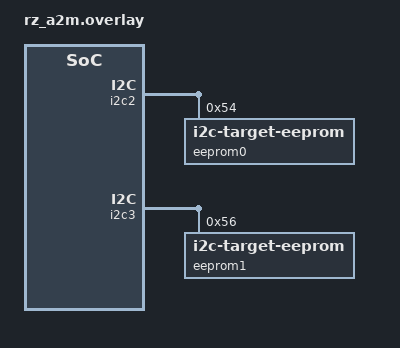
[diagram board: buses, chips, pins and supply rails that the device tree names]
/*
 * Copyright (c) 2023 EPAM Systems
 *
 * SPDX-License-Identifier: Apache-2.0
 */

&dma0 {
	status = "okay";
	dma-buf-addr-alignment = <1>;
};

&i2c2 {
	pinctrl-0 = <&i2c2_pins>;
	pinctrl-names = "default";
	status = "okay";
	dmas = <&dma0 3 DMA_RS_INTRIIC_TI2 0>, <&dma0 3 DMA_RS_INTRIIC_RI2 0>;
	dma-names = "tx", "rx";

	eeprom0: eeprom@54 {
		compatible = "zephyr,i2c-target-eeprom";
		reg = <0x54>;
		size = <1024>;
	};
};

&i2c3 {
	pinctrl-0 = <&i2c3_pins>;
	pinctrl-names = "default";
	status = "okay";
	dmas = <&dma0 2 DMA_RS_INTRIIC_TI3 0>, <&dma0 2 DMA_RS_INTRIIC_RI3 0>;
	dma-names = "tx", "rx";

	eeprom1: eeprom@56 {
		compatible = "zephyr,i2c-target-eeprom";
		reg = <0x56>;
		size = <1024>;
	};
};
